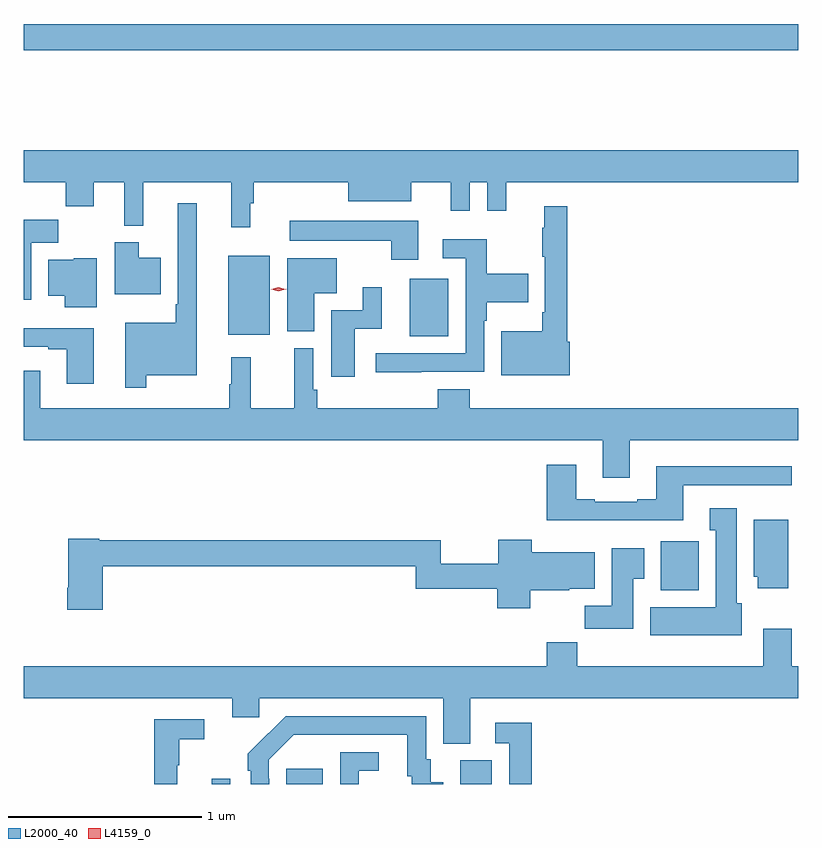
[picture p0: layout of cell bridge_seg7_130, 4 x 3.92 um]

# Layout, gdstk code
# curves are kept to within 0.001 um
import gdstk
lib = gdstk.Library(unit=1e-6, precision=1e-09)
def R(c, l, rs):  # rectangles x0, y0, x1, y1
    for r in rs: c.add(gdstk.rectangle(r[:2], r[2:], *l))
def P(c, l, *ps):  # polygons
    for p in ps: c.add(gdstk.Polygon(p, *l))
L2000_40 = (2000, 40)
L4159_0 = (4159, 0)

bridge_seg7_130 = lib.new_cell('bridge_seg7_130')
R(bridge_seg7_130, L2000_40, [(864.267,1000.173,864.363,1000.201), (864.653,1000.173,864.841,1000.252), (865.55,1000.173,865.714,1000.296), (866.585,1001.174,866.781,1001.425), (865.289,1002.485,865.489,1002.781), (864.353,1002.491,864.568,1002.901), (863.296,1003.96,867.296,1004.096)])
P(bridge_seg7_130, L2000_40, [(863.296,1003.28),(863.515,1003.28),(863.515,1003.156),(863.659,1003.156),(863.659,1003.28),(863.816,1003.28),(863.816,1003.055),(863.915,1003.055),(863.915,1003.28),(864.368,1003.28),(864.368,1003.047),(864.467,1003.047),(864.467,1003.172),(864.485,1003.172),(864.485,1003.28),(864.971,1003.28),(864.971,1003.181),(865.297,1003.181),(865.297,1003.28),(865.502,1003.28),(865.502,1003.131),(865.599,1003.131),(865.599,1003.28),(865.689,1003.28),(865.689,1003.131),(865.787,1003.131),(865.787,1003.28),(867.296,1003.28),(867.296,1003.444),(863.296,1003.444)],
  [(863.929,1002.284),(864.19,1002.284),(864.19,1003.171),(864.093,1003.171),(864.093,1002.649),(864.081,1002.649),(864.081,1002.553),(863.82,1002.553),(863.82,1002.219),(863.929,1002.219)],
  [(866.116,1002.455),(866.102,1002.455),(866.102,1003.156),(865.985,1003.156),(865.985,1003.043),(865.974,1003.043),(865.974,1002.895),(865.986,1002.895),(865.986,1002.607),(865.974,1002.607),(865.974,1002.511),(865.763,1002.511),(865.763,1002.284),(866.116,1002.284)],
  [(863.335,1002.968),(863.474,1002.968),(863.474,1003.086),(863.296,1003.086),(863.296,1002.672),(863.335,1002.672)],
  [(865.333,1003.081),(864.669,1003.081),(864.669,1002.977),(865.193,1002.977),(865.193,1002.879),(865.333,1002.879)],
  [(865.349,1002.3),(865.674,1002.3),(865.674,1002.563),(865.687,1002.563),(865.687,1002.659),(865.901,1002.659),(865.901,1002.807),(865.687,1002.807),(865.687,1002.985),(865.461,1002.985),(865.461,1002.888),(865.578,1002.888),(865.578,1002.396),(865.113,1002.396),(865.113,1002.299),(865.349,1002.299)],
  [(864.004,1002.889),(863.89,1002.889),(863.89,1002.97),(863.768,1002.97),(863.768,1002.701),(864.004,1002.701)],
  [(863.674,1002.886),(863.556,1002.886),(863.556,1002.88),(863.423,1002.88),(863.423,1002.692),(863.51,1002.692),(863.51,1002.635),(863.674,1002.635)],
  [(864.796,1002.707),(864.913,1002.707),(864.913,1002.886),(864.656,1002.886),(864.656,1002.51),(864.796,1002.51)],
  [(865.006,1002.522),(865.144,1002.522),(865.144,1002.736),(865.046,1002.736),(865.046,1002.618),(864.884,1002.618),(864.884,1002.276),(865.006,1002.276)],
  [(863.659,1002.526),(863.296,1002.526),(863.296,1002.429),(863.423,1002.429),(863.423,1002.417),(863.519,1002.417),(863.519,1002.24),(863.659,1002.24)],
  [(866.425,1001.948),(867.296,1001.948),(867.296,1002.112),(865.598,1002.112),(865.598,1002.211),(865.433,1002.211),(865.433,1002.112),(864.812,1002.112),(864.812,1002.208),(864.792,1002.208),(864.792,1002.421),(864.694,1002.421),(864.694,1002.112),(864.468,1002.112),(864.468,1002.376),(864.368,1002.376),(864.368,1002.236),(864.357,1002.236),(864.357,1002.112),(863.383,1002.112),(863.383,1002.307),(863.296,1002.307),(863.296,1001.948),(866.285,1001.948),(866.285,1001.754),(866.425,1001.754)],
  [(866.701,1001.715),(867.262,1001.715),(867.262,1001.812),(866.561,1001.812),(866.561,1001.644),(866.465,1001.644),(866.465,1001.631),(866.245,1001.631),(866.245,1001.644),(866.149,1001.644),(866.149,1001.821),(865.997,1001.821),(865.997,1001.534),(866.701,1001.534)],
  [(867.004,1001.106),(866.977,1001.106),(866.977,1001.596),(866.837,1001.596),(866.837,1001.483),(866.87,1001.483),(866.87,1001.086),(866.531,1001.086),(866.531,1000.94),(867.004,1000.94)],
  [(867.244,1001.536),(867.065,1001.536),(867.065,1001.244),(867.086,1001.244),(867.086,1001.184),(867.244,1001.184)],
  [(863.705,1001.296),(865.321,1001.296),(865.321,1001.181),(865.742,1001.181),(865.742,1001.081),(865.912,1001.081),(865.912,1001.174),(866.112,1001.174),(866.112,1001.18),(866.245,1001.18),(866.245,1001.368),(865.92,1001.368),(865.92,1001.434),(865.747,1001.434),(865.747,1001.309),(865.45,1001.309),(865.45,1001.432),(863.688,1001.432),(863.688,1001.44),(863.527,1001.44),(863.527,1001.185),(863.522,1001.185),(863.522,1001.073),(863.705,1001.073)],
  [(866.443,1001.233),(866.5,1001.233),(866.5,1001.389),(866.333,1001.389),(866.333,1001.092),(866.194,1001.092),(866.194,1000.974),(866.443,1000.974)],
  [(865.603,1000.616),(867.296,1000.616),(867.296,1000.78),(867.261,1000.78),(867.261,1000.975),(867.113,1000.975),(867.113,1000.78),(866.153,1000.78),(866.153,1000.904),(865.997,1000.904),(865.997,1000.78),(863.296,1000.78),(863.296,1000.616),(864.374,1000.616),(864.374,1000.518),(864.513,1000.518),(864.513,1000.616),(865.463,1000.616),(865.463,1000.381),(865.603,1000.381)],
  [(864.564,1000.199),(864.561,1000.199),(864.561,1000.299),(864.69,1000.428),(865.277,1000.428),(865.277,1000.212),(865.301,1000.212),(865.301,1000.173),(865.462,1000.173),(865.462,1000.183),(865.399,1000.183),(865.399,1000.302),(865.374,1000.302),(865.374,1000.524),(864.65,1000.524),(864.453,1000.329),(864.453,1000.241),(864.468,1000.241),(864.468,1000.173),(864.564,1000.173)],
  [(864.089,1000.269),(864.1,1000.269),(864.1,1000.405),(864.229,1000.405),(864.229,1000.506),(863.971,1000.506),(863.971,1000.173),(864.089,1000.173)],
  [(865.919,1000.489),(865.731,1000.489),(865.731,1000.383),(865.803,1000.383),(865.803,1000.173),(865.919,1000.173)],
  [(865.026,1000.242),(865.129,1000.242),(865.129,1000.338),(864.93,1000.338),(864.93,1000.173),(865.026,1000.173)])
P(bridge_seg7_130, L4159_0, [(864.612,1002.717),(864.574,1002.726),(864.574,1002.726),(864.574,1002.726),(864.612,1002.737),(864.65,1002.727),(864.651,1002.727),(864.65,1002.727)])

lib.write_gds('bridge_seg7_130.gds')
